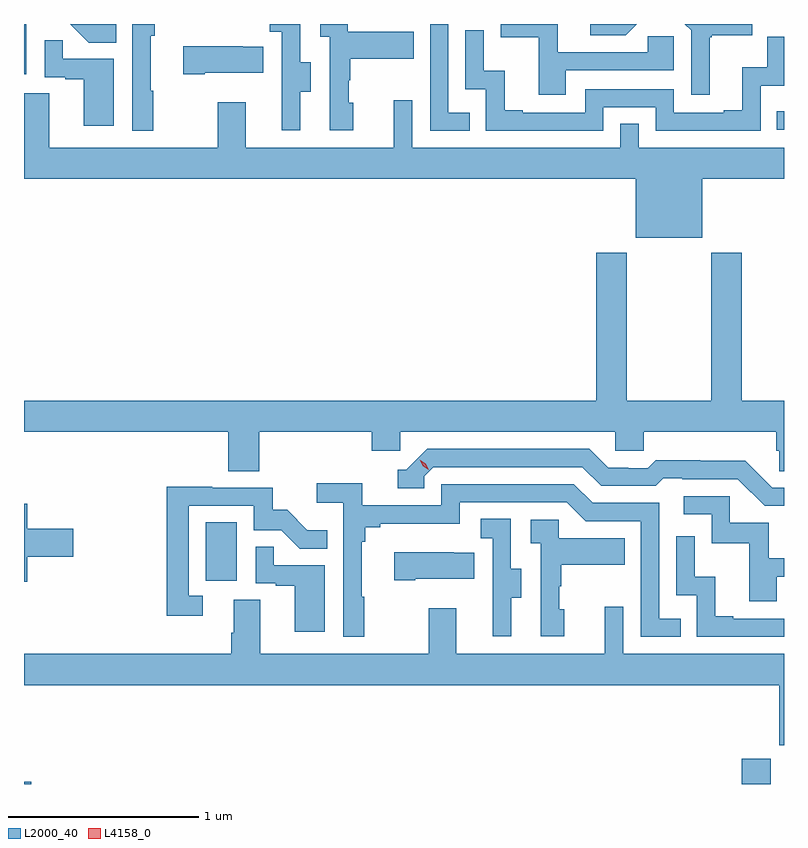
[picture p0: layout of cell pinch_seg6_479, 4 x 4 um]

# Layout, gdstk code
import gdstk
lib = gdstk.Library(unit=1e-6, precision=1e-09)
def R(c, l, rs):  # rectangles x0, y0, x1, y1
    for r in rs: c.add(gdstk.rectangle(r[:2], r[2:], *l))
def P(c, l, *ps):  # polygons
    for p in ps: c.add(gdstk.Polygon(p, *l))
L2000_40 = (2000, 40)
L4158_0 = (4158, 0)

pinch_seg6_479 = lib.new_cell('pinch_seg6_479')
R(pinch_seg6_479, L2000_40, [(879.425,917.511,879.463,917.522), (883.202,917.511,883.354,917.643), (880.382,918.582,880.546,918.889), (883.387,920.955,883.425,921.052), (879.425,921.246,879.436,921.511)])
P(pinch_seg6_479, L2000_40, [(882.277,921.267),(882.846,921.267),(882.846,921.447),(882.709,921.447),(882.709,921.363),(882.235,921.363),(882.235,921.511),(881.934,921.511),(881.934,921.441),(882.133,921.441),(882.133,921.138),(882.277,921.138)],
  [(883.033,921.441),(883.045,921.441),(883.045,921.452),(883.258,921.452),(883.258,921.511),(882.902,921.511),(882.936,921.477),(882.936,921.138),(883.033,921.138)],
  [(882.65,921.511),(882.405,921.511),(882.405,921.453),(882.592,921.453)],
  [(879.911,921.511),(879.525,921.511),(879.525,921.51),(879.669,921.51),(879.767,921.412),(879.911,921.412)],
  [(880.879,921.154),(880.933,921.154),(880.933,921.309),(880.878,921.309),(880.878,921.511),(880.719,921.511),(880.719,921.469),(880.782,921.469),(880.782,921.165),(880.781,921.165),(880.781,920.952),(880.879,920.952)],
  [(881.158,921.096),(881.133,921.096),(881.133,921.215),(881.143,921.215),(881.143,921.329),(881.477,921.329),(881.477,921.469),(881.13,921.469),(881.13,921.511),(880.983,921.511),(880.983,921.443),(881.034,921.443),(881.034,920.952),(881.158,920.952)],
  [(880.105,921.161),(880.093,921.161),(880.093,921.449),(880.112,921.449),(880.112,921.511),(879.996,921.511),(879.996,920.949),(880.105,920.949)],
  [(881.771,921.045),(881.658,921.045),(881.658,921.511),(881.562,921.511),(881.562,920.949),(881.771,920.949)],
  [(882.474,921.072),(882.75,921.072),(882.75,920.949),(883.302,920.949),(883.302,921.185),(883.425,921.185),(883.425,921.444),(883.338,921.444),(883.338,921.283),(883.205,921.283),(883.205,921.058),(883.109,921.058),(883.109,921.045),(882.846,921.045),(882.846,921.168),(882.378,921.168),(882.378,921.045),(882.049,921.045),(882.049,921.058),(881.954,921.058),(881.954,921.266),(881.844,921.266),(881.844,921.478),(881.748,921.478),(881.748,921.168),(881.856,921.168),(881.856,920.949),(882.474,920.949)],
  [(879.898,921.327),(879.629,921.327),(879.629,921.425),(879.534,921.425),(879.534,921.231),(879.641,921.231),(879.641,921.219),(879.74,921.219),(879.74,920.976),(879.898,920.976)],
  [(880.375,921.254),(880.685,921.254),(880.685,921.391),(880.577,921.391),(880.577,921.394),(880.263,921.394),(880.263,921.247),(880.375,921.247)],
  [(882.994,920.696),(883.425,920.696),(883.425,920.86),(882.66,920.86),(882.66,920.987),(882.564,920.987),(882.564,920.86),(881.469,920.86),(881.469,921.109),(881.372,921.109),(881.372,920.86),(880.591,920.86),(880.591,921.1),(880.444,921.1),(880.444,920.86),(879.559,920.86),(879.559,921.146),(879.425,921.146),(879.425,920.696),(882.644,920.696),(882.644,920.387),(882.994,920.387)],
  [(880.664,919.364),(881.255,919.364),(881.255,919.266),(881.406,919.266),(881.406,919.364),(882.537,919.364),(882.537,919.266),(882.687,919.266),(882.687,919.364),(883.385,919.364),(883.385,919.266),(883.399,919.266),(883.399,919.156),(883.425,919.156),(883.425,919.528),(883.202,919.528),(883.202,920.308),(883.042,920.308),(883.042,919.528),(882.597,919.528),(882.597,920.308),(882.437,920.308),(882.437,919.528),(879.425,919.528),(879.425,919.364),(880.499,919.364),(880.499,919.156),(880.664,919.156)],
  [(883.425,919.071),(883.362,919.071),(883.22,919.213),(882.984,919.213),(882.984,919.216),(882.751,919.216),(882.709,919.173),(882.606,919.173),(882.606,919.176),(882.499,919.176),(882.4,919.275),(881.547,919.275),(881.436,919.164),(881.393,919.164),(881.393,919.068),(881.532,919.068),(881.532,919.131),(881.58,919.179),(882.363,919.179),(882.462,919.08),(882.751,919.08),(882.79,919.119),(882.889,919.119),(882.889,919.116),(883.182,919.116),(883.323,918.975),(883.425,918.975)],
  [(881.215,918.497),(881.203,918.497),(881.203,918.785),(881.222,918.785),(881.222,918.862),(881.299,918.862),(881.299,918.881),(881.718,918.881),(881.718,918.993),(882.282,918.993),(882.381,918.894),(882.672,918.894),(882.672,918.285),(882.881,918.285),(882.881,918.381),(882.768,918.381),(882.768,918.99),(882.418,918.99),(882.319,919.089),(881.622,919.089),(881.622,918.978),(881.204,918.978),(881.204,919.094),(880.965,919.094),(880.965,918.992),(881.106,918.992),(881.106,918.285),(881.215,918.285)],
  [(880.366,918.501),(880.293,918.501),(880.293,918.975),(880.635,918.975),(880.635,918.846),(880.779,918.846),(880.877,918.748),(881.021,918.748),(881.021,918.847),(880.917,918.847),(880.81,918.954),(880.734,918.954),(880.734,919.071),(880.415,919.071),(880.415,919.076),(880.177,919.076),(880.177,918.396),(880.366,918.396)],
  [(883.387,918.603),(883.425,918.603),(883.425,918.699),(883.345,918.699),(883.345,918.885),(883.14,918.885),(883.14,919.026),(882.897,919.026),(882.897,918.93),(883.044,918.93),(883.044,918.777),(883.243,918.777),(883.243,918.474),(883.387,918.474)],
  [(879.442,918.707),(879.685,918.707),(879.685,918.854),(879.442,918.854),(879.442,918.985),(879.425,918.985),(879.425,918.575),(879.442,918.575)],
  [(881.989,918.49),(882.043,918.49),(882.043,918.645),(881.988,918.645),(881.988,918.908),(881.829,918.908),(881.829,918.805),(881.892,918.805),(881.892,918.501),(881.891,918.501),(881.891,918.288),(881.989,918.288)],
  [(882.268,918.432),(882.243,918.432),(882.243,918.551),(882.253,918.551),(882.253,918.665),(882.587,918.665),(882.587,918.805),(882.24,918.805),(882.24,918.903),(882.093,918.903),(882.093,918.779),(882.144,918.779),(882.144,918.288),(882.268,918.288)],
  [(883.425,918.381),(883.159,918.381),(883.159,918.394),(883.064,918.394),(883.064,918.602),(882.954,918.602),(882.954,918.814),(882.858,918.814),(882.858,918.504),(882.966,918.504),(882.966,918.285),(883.425,918.285)],
  [(881.008,918.663),(880.739,918.663),(880.739,918.761),(880.644,918.761),(880.644,918.567),(880.751,918.567),(880.751,918.555),(880.85,918.555),(880.85,918.312),(881.008,918.312)],
  [(881.485,918.59),(881.795,918.59),(881.795,918.727),(881.687,918.727),(881.687,918.73),(881.373,918.73),(881.373,918.583),(881.485,918.583)],
  [(883.425,918.196),(882.579,918.196),(882.579,918.445),(882.482,918.445),(882.482,918.196),(881.701,918.196),(881.701,918.436),(881.554,918.436),(881.554,918.196),(880.669,918.196),(880.669,918.482),(880.529,918.482),(880.529,918.308),(880.517,918.308),(880.517,918.196),(879.425,918.196),(879.425,918.032),(883.4,918.032),(883.4,917.715),(883.425,917.715)])
P(pinch_seg6_479, L4158_0, [(881.556,919.165),(881.525,919.184),(881.508,919.217),(881.508,919.217),(881.508,919.217),(881.539,919.197),(881.556,919.165),(881.556,919.165)])

lib.write_gds('pinch_seg6_479.gds')
